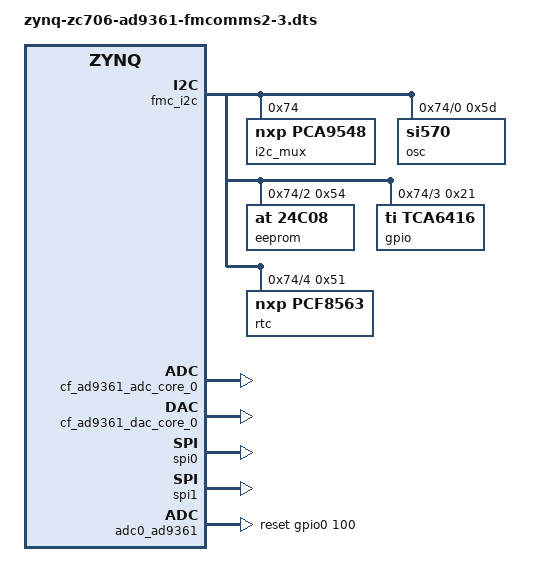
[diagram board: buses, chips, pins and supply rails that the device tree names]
// SPDX-License-Identifier: GPL-2.0
/*
 * Analog Devices AD-FMCOMMS2-EBZ/AD-FMCOMMS3-EBZ
 * https://wiki.analog.com/resources/eval/user-guides/ad-fmcomms2-ebz
 * https://wiki.analog.com/resources/eval/user-guides/ad-fmcomms3-ebz
 *
 * hdl_project: <fmcomms2/zc706>
 * board_revision: <>
 *
 * Copyright (C) 2014-2019 Analog Devices Inc.
 */
/dts-v1/;

#include "zynq-zc706.dtsi"

/ {
  fpga_axi  {

    fmc_i2c: i2c@41620000 {
      compatible = "xlnx,axi-iic-1.01.b", "xlnx,xps-iic-2.00.a";
      reg = <0x41620000 0x10000>;
      interrupt-parent = <&intc>;
      interrupts = <0 55 IRQ_TYPE_LEVEL_HIGH>;
      clocks = <&clkc 15>;
      clock-names = "pclk";

      #size-cells = <0>;
      #address-cells = <1>;

      i2c_mux: i2cswitch@74 {
        compatible = "nxp,pca9548";
        #address-cells = <1>;
        #size-cells = <0>;
        reg = <0x74>;

        fmc_i2c: i2c@6 {
          #size-cells = <0>;
          #address-cells = <1>;
          reg = <6>;
        };

        i2c@0 {
          #address-cells = <1>;
          #size-cells = <0>;
          reg = <0>;
          osc@5d {
            compatible = "si570";
            temperature-stability = <50>;
            reg = <0x5d>;
            factory-fout = <156250000>;
            initial-fout = <148500000>;
          };
        };

        i2c@2 {
          #address-cells = <1>;
          #size-cells = <0>;
          reg = <2>;
          eeprom@54 {
            compatible = "at,24c08";
            reg = <0x54>;
          };
        };

        i2c@3 {
          #address-cells = <1>;
          #size-cells = <0>;
          reg = <3>;
          gpio@21 {
            compatible = "ti,tca6416";
            reg = <0x21>;
            gpio-controller;
            #gpio-cells = <2>;
          };
        };

        i2c@4 {
          #address-cells = <1>;
          #size-cells = <0>;
          reg = <4>;
          rtc@51 {
            compatible = "nxp,pcf8563";
            reg = <0x51>;
          };
        };
      };
    };

    rx_dma: dma@7c400000 {
      compatible = "adi,axi-dmac-1.00.a";
      reg = <0x7c400000 0x1000>;
      #dma-cells = <1>;
      interrupts = <0 57 IRQ_TYPE_LEVEL_HIGH>;
      clocks = <&clkc 16>;

      adi,channels {
        #size-cells = <0>;
        #address-cells = <1>;

        dma-channel@0 {
          reg = <0>;
          adi,source-bus-width = <64>;
          adi,source-bus-type = <2>;
          adi,destination-bus-width = <64>;
          adi,destination-bus-type = <0>;
        };
      };
    };

    tx_dma: dma@7c420000 {
      compatible = "adi,axi-dmac-1.00.a";
      reg = <0x7c420000 0x1000>;
      #dma-cells = <1>;
      interrupts = <0 56 IRQ_TYPE_LEVEL_HIGH>;
      clocks = <&clkc 16>;

      adi,channels {
        #size-cells = <0>;
        #address-cells = <1>;

        dma-channel@0 {
          reg = <0>;
          adi,source-bus-width = <64>;
          adi,source-bus-type = <0>;
          adi,destination-bus-width = <64>;
          adi,destination-bus-type = <2>;
        };
      };
    };

    cf_ad9361_adc_core_0: cf-ad9361-lpc@79020000 {
      compatible = "adi,axi-ad9361-6.00.a";
      reg = <0x79020000 0x6000>;
      dmas = <&rx_dma 0>;
      dma-names = "rx";

      spibus-connected = <&adc0_ad9361>;
    };

    cf_ad9361_dac_core_0: cf-ad9361-dds-core-lpc@79024000 {
      compatible = "adi,axi-ad9361-dds-6.00.a";
      reg = <0x79024000 0x1000>;
      clocks = <&adc0_ad9361 13>;
      clock-names = "sampl_clk";
      dmas = <&tx_dma 0>;
      dma-names = "tx";
    };
  };
};

&spi0 {
	status = "okay";
};

&spi1 {
	status = "okay";
};

#define fmc_spi spi0
#define pmod_spi spi1

#include "adi-fmcomms2.dtsi"
#include "adi-fmcomms3-up-down-converter.dtsi"

&adc0_ad9361 {
	en_agc-gpios = <&gpio0 98 0>;
	sync-gpios = <&gpio0 99 0>;
	reset-gpios = <&gpio0 100 0>; /* Previously 83 */
	enable-gpios = <&gpio0 101 0>;
	txnrx-gpios = <&gpio0 102 0>;
};

&lo_pll0_rx_adf4351 {
	gpios = <&gpio0 103 0>;
};

&lo_pll0_tx_adf4351 {
	gpios = <&gpio0 104 0>;
};
